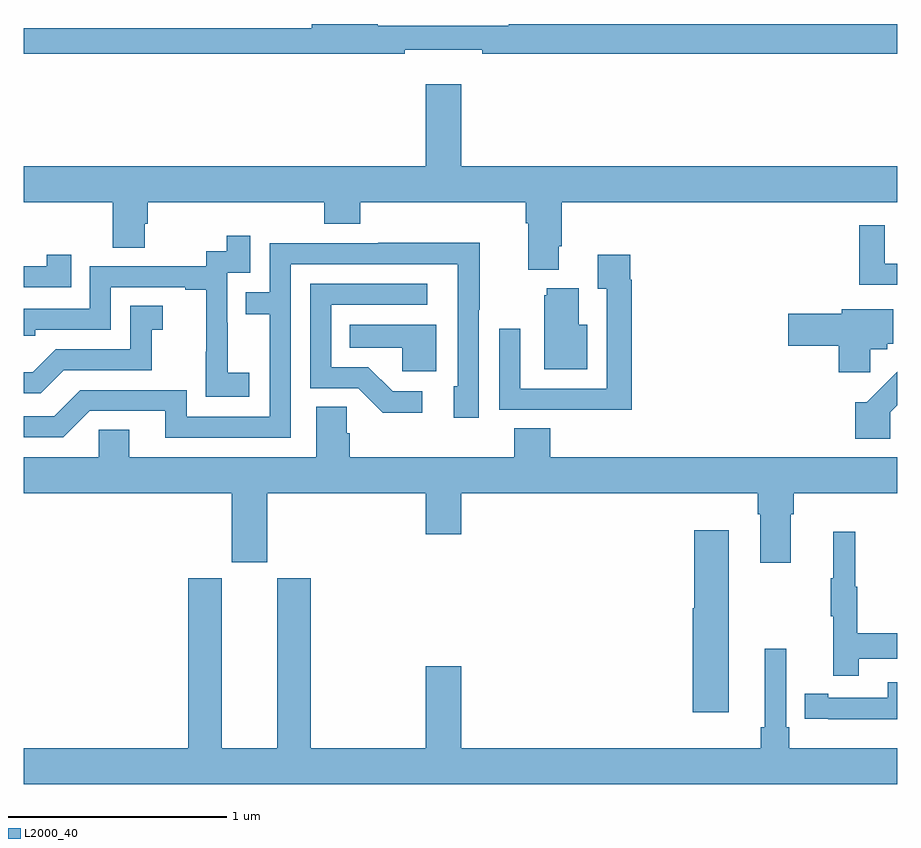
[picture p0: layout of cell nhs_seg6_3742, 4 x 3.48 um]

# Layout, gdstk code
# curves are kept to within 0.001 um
import gdstk
lib = gdstk.Library(unit=1e-6, precision=1e-09)
def P(c, l, *ps):  # polygons
    for p in ps: c.add(gdstk.Polygon(p, *l))
L2000_40 = (2000, 40)

nhs_seg6_3742 = lib.new_cell('nhs_seg6_3742')
P(nhs_seg6_3742, L2000_40, [(332.744,949.367),(333.1,949.367),(333.1,949.348),(335,949.348),(335,949.484),(333.22,949.484),(333.22,949.477),(332.62,949.477),(332.62,949.484),(332.32,949.484),(332.32,949.464),(331,949.464),(331,949.348),(332.744,949.348)],
  [(333.451,948.466),(333.464,948.466),(333.464,948.668),(335,948.668),(335,948.832),(333.004,948.832),(333.004,949.207),(332.84,949.207),(332.84,948.832),(331,948.832),(331,948.668),(331.408,948.668),(331.408,948.46),(331.555,948.46),(331.555,948.57),(331.568,948.57),(331.568,948.668),(332.375,948.668),(332.375,948.569),(332.54,948.569),(332.54,948.668),(333.299,948.668),(333.299,948.572),(333.311,948.572),(333.311,948.359),(333.451,948.359)],
  [(335,948.387),(334.942,948.387),(334.942,948.562),(334.825,948.562),(334.825,948.291),(335,948.291)],
  [(332.032,947.887),(331.934,947.887),(331.934,948.116),(331.932,948.116),(331.932,948.345),(332.037,948.345),(332.037,948.514),(331.929,948.514),(331.929,948.444),(331.836,948.444),(331.836,948.375),(331.302,948.375),(331.302,948.18),(331,948.18),(331,948.057),(331.053,948.057),(331.053,948.084),(331.398,948.084),(331.398,948.279),(331.739,948.279),(331.739,948.267),(331.835,948.267),(331.835,947.983),(331.834,947.983),(331.834,947.777),(332.032,947.777)],
  [(332.223,948.384),(332.987,948.384),(332.988,947.826),(332.969,947.826),(332.969,947.682),(333.084,947.682),(333.084,948.175),(333.087,948.175),(333.087,948.482),(332.623,948.482),(332.623,948.48),(332.127,948.48),(332.127,948.255),(332.017,948.255),(332.017,948.154),(332.127,948.154),(332.127,947.685),(331.746,947.685),(331.746,947.808),(331.26,947.808),(331.14,947.688),(331,947.688),(331,947.592),(331.182,947.592),(331.302,947.712),(331.649,947.712),(331.649,947.589),(332.223,947.589)],
  [(333.785,948.314),(333.778,948.314),(333.778,948.427),(333.629,948.427),(333.629,948.271),(333.669,948.271),(333.669,947.814),(333.273,947.814),(333.273,948.088),(333.177,948.088),(333.177,947.718),(333.493,947.718),(333.493,947.717),(333.785,947.717)],
  [(331.217,948.427),(331.106,948.427),(331.106,948.375),(331,948.375),(331,948.279),(331.217,948.279)],
  [(332.824,947.802),(332.689,947.802),(332.578,947.913),(332.409,947.913),(332.409,948.198),(332.848,948.198),(332.848,948.294),(332.313,948.294),(332.313,947.817),(332.532,947.817),(332.645,947.705),(332.824,947.705)],
  [(333.58,948.106),(333.541,948.106),(333.541,948.274),(333.395,948.274),(333.395,948.243),(333.383,948.243),(333.383,947.903),(333.58,947.903)],
  [(331.183,947.898),(331.587,947.898),(331.587,948.083),(331.636,948.083),(331.636,948.193),(331.488,948.193),(331.488,947.994),(331.146,947.994),(331.042,947.89),(331,947.89),(331,947.793),(331.078,947.793)],
  [(334.877,947.994),(334.953,947.994),(334.953,948.021),(334.981,948.021),(334.981,948.178),(334.745,948.178),(334.745,948.158),(334.5,948.158),(334.5,948.011),(334.733,948.011),(334.733,947.889),(334.877,947.889)],
  [(332.89,948.106),(332.494,948.106),(332.494,948.002),(332.733,948.002),(332.733,947.894),(332.89,947.894)],
  [(334.968,947.706),(335,947.738),(335,947.891),(334.861,947.752),(334.808,947.752),(334.808,947.586),(334.968,947.586)],
  [(332.492,947.609),(332.478,947.609),(332.478,947.732),(332.339,947.732),(332.339,947.5),(331.483,947.5),(331.483,947.627),(331.344,947.627),(331.344,947.5),(331,947.5),(331,947.336),(331.952,947.336),(331.952,947.019),(332.116,947.019),(332.116,947.336),(332.84,947.336),(332.84,947.148),(333.004,947.148),(333.004,947.336),(334.361,947.336),(334.361,947.24),(334.373,947.24),(334.373,947.016),(334.513,947.016),(334.513,947.24),(334.526,947.24),(334.526,947.336),(335,947.336),(335,947.5),(333.41,947.5),(333.41,947.633),(333.245,947.633),(333.245,947.5),(332.492,947.5)],
  [(334.228,947.167),(334.07,947.167),(334.07,946.809),(334.064,946.809),(334.064,946.332),(334.228,946.332)],
  [(334.823,946.578),(335,946.578),(335,946.694),(334.816,946.694),(334.816,946.908),(334.808,946.908),(334.808,947.158),(334.706,947.158),(334.706,946.945),(334.695,946.945),(334.695,946.771),(334.706,946.771),(334.706,946.5),(334.823,946.5)],
  [(335,946.168),(334.505,946.168),(334.505,946.264),(334.491,946.264),(334.491,946.624),(334.394,946.624),(334.394,946.264),(334.375,946.264),(334.375,946.168),(333.004,946.168),(333.004,946.543),(332.84,946.543),(332.84,946.168),(332.315,946.168),(332.315,946.947),(332.162,946.947),(332.162,946.168),(331.906,946.168),(331.906,946.947),(331.754,946.947),(331.754,946.168),(331,946.168),(331,946.004),(335,946.004)],
  [(335,946.47),(334.956,946.47),(334.956,946.398),(334.684,946.398),(334.684,946.418),(334.576,946.418),(334.576,946.302),(334.684,946.302),(334.684,946.301),(335,946.301)])

lib.write_gds('nhs_seg6_3742.gds')
